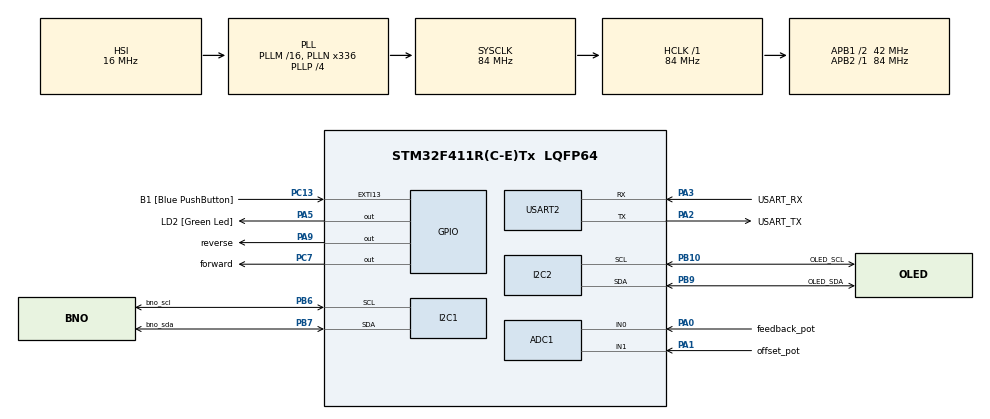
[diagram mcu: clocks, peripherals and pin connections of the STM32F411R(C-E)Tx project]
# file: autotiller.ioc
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ADC1.Channel-0\#ChannelRegularConversion=ADC_CHANNEL_0
ADC1.Channel-1\#ChannelRegularConversion=ADC_CHANNEL_1
ADC1.Channel-2\#ChannelRegularConversion=ADC_CHANNEL_4
ADC1.Channel-3\#ChannelRegularConversion=ADC_CHANNEL_6
ADC1.Channel-4\#ChannelRegularConversion=ADC_CHANNEL_7
ADC1.ContinuousConvMode=ENABLE
ADC1.NbrOfConversion=5
ADC1.NbrOfConversionFlag=1
ADC1.Rank-0\#ChannelRegularConversion=1
ADC1.Rank-1\#ChannelRegularConversion=2
ADC1.Rank-2\#ChannelRegularConversion=3
ADC1.Rank-3\#ChannelRegularConversion=4
ADC1.Rank-4\#ChannelRegularConversion=5
ADC1.SamplingTime-0\#ChannelRegularConversion=ADC_SAMPLETIME_28CYCLES
ADC1.SamplingTime-1\#ChannelRegularConversion=ADC_SAMPLETIME_28CYCLES
ADC1.SamplingTime-2\#ChannelRegularConversion=ADC_SAMPLETIME_28CYCLES
ADC1.SamplingTime-3\#ChannelRegularConversion=ADC_SAMPLETIME_28CYCLES
ADC1.SamplingTime-4\#ChannelRegularConversion=ADC_SAMPLETIME_28CYCLES
ADC1.ScanConvMode=ENABLE
ADC1.master=1
I2C2.I2C_Mode=I2C_Fast
Mcu.Family=STM32F4
Mcu.Name=STM32F411R(C-E)Tx
Mcu.Package=LQFP64
NVIC.PriorityGroup=NVIC_PRIORITYGROUP_0
PA0-WKUP.GPIO_Label=feedback_pot
PA0-WKUP.Signal=ADCx_IN0
PA1.GPIO_Label=offset_pot
PA1.Signal=ADCx_IN1
PA13.GPIO_Label=TMS
PA13.Mode=Serial_Wire
PA13.Signal=SYS_JTMS-SWDIO
PA14.GPIO_Label=TCK
PA14.Mode=Serial_Wire
PA14.Signal=SYS_JTCK-SWCLK
PA2.GPIO_Label=USART_TX
PA2.Mode=Asynchronous
PA2.Signal=USART2_TX
PA3.GPIO_Label=USART_RX
PA3.Mode=Asynchronous
PA3.Signal=USART2_RX
PA5.GPIO_Label=LD2 [Green Led]
PA5.Signal=GPIO_Output
PA9.GPIO_Label=reverse
PA9.Signal=GPIO_Output
PB10.GPIO_Label=OLED_SCL
PB10.Mode=I2C
PB10.Signal=I2C2_SCL
PB3.GPIO_Label=SWO
PB3.Signal=SYS_JTDO-SWO
PB6.GPIO_Label=bno_scl
PB6.Mode=I2C
PB6.Signal=I2C1_SCL
PB7.GPIO_Label=bno_sda
PB7.Mode=I2C
PB7.Signal=I2C1_SDA
PB9.GPIO_Label=OLED_SDA
PB9.Mode=I2C
PB9.Signal=I2C2_SDA
PC13-ANTI_TAMP.GPIO_Label=B1 [Blue PushButton]
PC13-ANTI_TAMP.GPIO_ModeDefaultEXTI=GPIO_MODE_IT_FALLING
PC13-ANTI_TAMP.Signal=GPXTI13
PC14-OSC32_IN.Mode=LSE-External-Oscillator
PC14-OSC32_IN.Signal=RCC_OSC32_IN
PC15-OSC32_OUT.Mode=LSE-External-Oscillator
PC15-OSC32_OUT.Signal=RCC_OSC32_OUT
PC7.GPIO_Label=forward
PC7.Signal=GPIO_Output
PH0\ -\ OSC_IN.Mode=HSE-External-Oscillator
PH0\ -\ OSC_IN.Signal=RCC_OSC_IN
PH1\ -\ OSC_OUT.Mode=HSE-External-Oscillator
PH1\ -\ OSC_OUT.Signal=RCC_OSC_OUT
ProjectManager.HeapSize=0x200
ProjectManager.StackSize=0x400
ProjectManager.TargetToolchain=STM32CubeIDE
RCC.48MHZClocksFreq_Value=84000000
RCC.AHBFreq_Value=84000000
RCC.APB1CLKDivider=RCC_HCLK_DIV2
RCC.APB1Freq_Value=42000000
RCC.APB1TimFreq_Value=84000000
RCC.APB2Freq_Value=84000000
RCC.APB2TimFreq_Value=84000000
RCC.CortexFreq_Value=84000000
RCC.FLatency-AdvancedSettings=FLASH_LATENCY_2
RCC.HCLKFreq_Value=84000000
RCC.HSE_VALUE=8000000
RCC.HSI_VALUE=16000000
RCC.PLLN=336
RCC.PLLP=RCC_PLLP_DIV4
RCC.SYSCLKFreq_VALUE=84000000
RCC.SYSCLKSource=RCC_SYSCLKSOURCE_PLLCLK
RCC.VCOOutputFreq_Value=336000000
SH.ADCx_IN0.0=ADC1_IN0,IN0
SH.ADCx_IN1.0=ADC1_IN1,IN1
USART2.VirtualMode=VM_ASYNC
board=NUCLEO-F411RE

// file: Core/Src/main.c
/* USER CODE BEGIN Header */
/**
  ******************************************************************************
  * @file           : main.c
  * @brief          : Main program body
  ******************************************************************************
  * @attention
  *
  * Copyright (c) 2024 STMicroelectronics.
  * All rights reserved.
  *
  * This software is licensed under terms that can be found in the LICENSE file
  * in the root directory of this software component.
  * If no LICENSE file comes with this software, it is provided AS-IS.
  *
  ******************************************************************************
  */
/* USER CODE END Header */
#include "main.h"

/* USER CODE BEGIN Includes */

#include <stdio.h>
#include <stdlib.h>

#include "fonts.h"
#include "ssd1306.h"

#include "bno055.h"
#include "bno_config.h"

#include "auto_till.h"

/* USER CODE END Includes */

ADC_HandleTypeDef hadc1;

I2C_HandleTypeDef hi2c1;
I2C_HandleTypeDef hi2c2;

UART_HandleTypeDef huart2;

/* USER CODE BEGIN PV */

bno055_t bno;
error_bno err;

uint32_t feedback_pot, offset_pot;
uint32_t yaw, new_yaw, period = 50;

float heading, heading_error, heading_difference, PID_p, PID_i, PID_d;
float heading_prev_error = 0;
float heading_set_point;
float kp = 9, ki = .25, kd = 3300;
float PID_total;

/* USER CODE END PV */

void SystemClock_Config(void);
static void MX_GPIO_Init(void);
static void MX_USART2_UART_Init(void);
static void MX_ADC1_Init(void);
static void MX_I2C1_Init(void);
static void MX_I2C2_Init(void);

/* USER CODE BEGIN 0 */

void ADC_Select_CH0 (void)
{
	ADC_ChannelConfTypeDef sConfig = {0};

	sConfig.Channel = ADC_CHANNEL_0;
	sConfig.Rank = 1;
	sConfig.SamplingTime = ADC_SAMPLETIME_28CYCLES;
	if (HAL_ADC_ConfigChannel(&hadc1, &sConfig) != HAL_OK)
	{
	Error_Handler();
	}
}

void ADC_Select_CH1 (void)
{
	ADC_ChannelConfTypeDef sConfig = {0};

	sConfig.Channel = ADC_CHANNEL_1;
	sConfig.Rank = 1;
	if (HAL_ADC_ConfigChannel(&hadc1, &sConfig) != HAL_OK)
	{
	Error_Handler();
	}
}

/* USER CODE END 0 */

int main(void)
{

  /* MCU Configuration--------------------------------------------------------*/

  /* Reset of all peripherals, Initializes the Flash interface and the Systick. */
  HAL_Init();

  /* USER CODE BEGIN Init */

  push_pull_init(GPIOC, GPIO_PIN_7, GPIOA, GPIO_PIN_9);

  /* USER CODE END Init */

  /* Configure the system clock */
  SystemClock_Config();

  /* Initialize all configured peripherals */
  MX_GPIO_Init();
  MX_USART2_UART_Init();
  MX_ADC1_Init();
  MX_I2C1_Init();
  MX_I2C2_Init();
  /* USER CODE BEGIN 2 */

  bno = (bno055_t)
  {
	  .i2c = &hi2c1, .addr = BNO_ADDR, .mode = BNO_MODE_IMU, ._temp_unit = 0,
	  // .ptr = &bno,
  };
  HAL_Delay(1000);

  if ((err = bno055_init(&bno)) == BNO_OK)
    {
    	  printf("[+] BNO055 init success\r\n");
  	  HAL_Delay(100);
    }
    else
    {
  	  printf("[!] BNO055 init failed\r\n");
  	  printf("%s\n", bno055_err_str(err));
  	  Error_Handler();
    }
  	  HAL_Delay(100);
  	  err = bno055_set_unit(&bno, BNO_TEMP_UNIT_C, BNO_GYR_UNIT_DPS, BNO_ACC_UNITSEL_M_S2, BNO_EUL_UNIT_DEG);
    if (err != BNO_OK)
    {
  	  printf("[BNO] Failed to set units. Err: %d\r\n", err);
    }
    else
    {
  	  printf("[BNO] Unit selection success\r\n");
    }

    HAL_Delay(1000);
    bno055_euler_t eul = {0, 0, 0};

    SSD1306_Init();

  /* USER CODE END 2 */

  /* Infinite loop */
  while (1)
  {

    /* USER CODE BEGIN 3 */

	  ADC_Select_CH0();
	  HAL_ADC_Start(&hadc1);
	  HAL_ADC_PollForConversion(&hadc1, 1000);
	  feedback_pot = HAL_ADC_GetValue(&hadc1);
	  HAL_ADC_Stop(&hadc1);

	  ADC_Select_CH1();
	  HAL_ADC_Start(&hadc1);
	  HAL_ADC_PollForConversion(&hadc1, 1000);
	  offset_pot = HAL_ADC_GetValue(&hadc1);
	  offset_pot = (offset_pot/100) - 20;
	  HAL_ADC_Stop(&hadc1);

	  bno.euler(&bno, &eul);
	  yaw = (int)eul.yaw;				//populate yaw with euler.yaw value
	  yaw = (yaw + 180) % 360;			//modulus for setting first value to 180 instead of 0
	  new_yaw = yaw + offset_pot;		//shifting the heading based off offset

	  heading_set_point = 180;

	  heading = new_yaw;
	  heading_error = heading_set_point - heading;
	  PID_p = kp * heading_error;						//proportional component

	  heading_difference = heading_error - heading_prev_error;
	  PID_d = kd * ((heading_error - heading_prev_error)/ period);		//derivative component

	  if(heading_error > -3 && heading_error < 3)		//integral cutoffs
	  {
		  PID_i = PID_i + (ki * heading_error);				//integral component
	  }
	  else
	  {
		  PID_i = 0;
	  }

	  PID_total = PID_p + PID_i + PID_d;		//combining P, I, and D components

//	  printf("%f  %f  %f  %f  %f\r\n", PID_p, PID_i, PID_d, PID_total, heading_error);
//	  fflush(stdout);
//	  HAL_Delay(2);

//	  printf("%f\t", PID_total);
//	  fflush(stdout);
//	  HAL_Delay(2);

	  PID_total = remap_val(PID_total, -3000, 3000, -400, 1600); 		//remapping values for range and sensitivity
	  feedback_pot = remap_val(feedback_pot, 0, 4100, 101, 1099);	//limits set at 130 and 1070

	  if(PID_total < -200)			//PID limits
	  {
		  PID_total = -200;
	  }
	  if(PID_total > 1400)
	  {
		  PID_total = 1400;
	  }

//	  printf("%f\r\n", PID_total);
//	  fflush(stdout);
//	  HAL_Delay(2);

	  linear_set(feedback_pot, GPIOC, GPIO_PIN_7, GPIOA, GPIO_PIN_9, PID_total);

//	  printf("%f  %ld\r\n", PID_total, feedback_pot);
//	  fflush(stdout);
//	  HAL_Delay(2);

	  char char_buff_1[1000], char_buff_2[1000];
	  sprintf(char_buff_1, "%ld", yaw);
	  sprintf(char_buff_2, "%ld", offset_pot);

	  SSD1306_GotoXY (0,0);
	  SSD1306_Puts ("Yaw:", &Font_7x10, 1);
	  SSD1306_GotoXY (0,30);
	  SSD1306_Puts ("Offset:", &Font_7x10, 1);

	  SSD1306_GotoXY (50,0);
	  SSD1306_Puts (char_buff_1, &Font_7x10, 1);
	  SSD1306_GotoXY (50,30);
	  SSD1306_Puts (char_buff_2, &Font_7x10, 1);
	  SSD1306_UpdateScreen();
	  HAL_Delay (2);
	  SSD1306_Clear();

  }
  /* USER CODE END 3 */
}

void SystemClock_Config(void)
{
  RCC_OscInitTypeDef RCC_OscInitStruct = {0};
  RCC_ClkInitTypeDef RCC_ClkInitStruct = {0};

  /** Configure the main internal regulator output voltage
  */
  __HAL_RCC_PWR_CLK_ENABLE();
  __HAL_PWR_VOLTAGESCALING_CONFIG(PWR_REGULATOR_VOLTAGE_SCALE1);

  /** Initializes the RCC Oscillators according to the specified parameters
  * in the RCC_OscInitTypeDef structure.
  */
  RCC_OscInitStruct.OscillatorType = RCC_OSCILLATORTYPE_HSI;
  RCC_OscInitStruct.HSIState = RCC_HSI_ON;
  RCC_OscInitStruct.HSICalibrationValue = RCC_HSICALIBRATION_DEFAULT;
  RCC_OscInitStruct.PLL.PLLState = RCC_PLL_ON;
  RCC_OscInitStruct.PLL.PLLSource = RCC_PLLSOURCE_HSI;
  RCC_OscInitStruct.PLL.PLLM = 16;
  RCC_OscInitStruct.PLL.PLLN = 336;
  RCC_OscInitStruct.PLL.PLLP = RCC_PLLP_DIV4;
  RCC_OscInitStruct.PLL.PLLQ = 4;
  if (HAL_RCC_OscConfig(&RCC_OscInitStruct) != HAL_OK)
  {
    Error_Handler();
  }

  /** Initializes the CPU, AHB and APB buses clocks
  */
  RCC_ClkInitStruct.ClockType = RCC_CLOCKTYPE_HCLK|RCC_CLOCKTYPE_SYSCLK
                              |RCC_CLOCKTYPE_PCLK1|RCC_CLOCKTYPE_PCLK2;
  RCC_ClkInitStruct.SYSCLKSource = RCC_SYSCLKSOURCE_PLLCLK;
  RCC_ClkInitStruct.AHBCLKDivider = RCC_SYSCLK_DIV1;
  RCC_ClkInitStruct.APB1CLKDivider = RCC_HCLK_DIV2;
  RCC_ClkInitStruct.APB2CLKDivider = RCC_HCLK_DIV1;

  if (HAL_RCC_ClockConfig(&RCC_ClkInitStruct, FLASH_LATENCY_2) != HAL_OK)
  {
    Error_Handler();
  }
}

static void MX_ADC1_Init(void)
{

  //ADC_ChannelConfTypeDef sConfig = {0};

  /** Configure the global features of the ADC (Clock, Resolution, Data Alignment and number of conversion)
  */
  hadc1.Instance = ADC1;
  hadc1.Init.ClockPrescaler = ADC_CLOCK_SYNC_PCLK_DIV4;
  hadc1.Init.Resolution = ADC_RESOLUTION_12B;
  hadc1.Init.ScanConvMode = ENABLE;
  hadc1.Init.ContinuousConvMode = ENABLE;
  hadc1.Init.DiscontinuousConvMode = DISABLE;
  hadc1.Init.ExternalTrigConvEdge = ADC_EXTERNALTRIGCONVEDGE_NONE;
  hadc1.Init.ExternalTrigConv = ADC_SOFTWARE_START;
  hadc1.Init.DataAlign = ADC_DATAALIGN_RIGHT;
  hadc1.Init.NbrOfConversion = 5;
  hadc1.Init.DMAContinuousRequests = DISABLE;
  hadc1.Init.EOCSelection = ADC_EOC_SINGLE_CONV;
  if (HAL_ADC_Init(&hadc1) != HAL_OK)
  {
    Error_Handler();
  }

  /** Configure for the selected ADC regular channel its corresponding rank in the sequencer and its sample time.
  */
//  sConfig.Channel = ADC_CHANNEL_0;
//  sConfig.Rank = 1;
//  sConfig.SamplingTime = ADC_SAMPLETIME_28CYCLES;
//  if (HAL_ADC_ConfigChannel(&hadc1, &sConfig) != HAL_OK)
//  {
//    Error_Handler();
//  }
//
//  /** Configure for the selected ADC regular channel its corresponding rank in the sequencer and its sample time.
//  */
//  sConfig.Channel = ADC_CHANNEL_1;
//  sConfig.Rank = 2;
//  if (HAL_ADC_ConfigChannel(&hadc1, &sConfig) != HAL_OK)
//  {
//    Error_Handler();
  }
static void MX_I2C1_Init(void)
{

  hi2c1.Instance = I2C1;
  hi2c1.Init.ClockSpeed = 100000;
  hi2c1.Init.DutyCycle = I2C_DUTYCYCLE_2;
  hi2c1.Init.OwnAddress1 = 0;
  hi2c1.Init.AddressingMode = I2C_ADDRESSINGMODE_7BIT;
  hi2c1.Init.DualAddressMode = I2C_DUALADDRESS_DISABLE;
  hi2c1.Init.OwnAddress2 = 0;
  hi2c1.Init.GeneralCallMode = I2C_GENERALCALL_DISABLE;
  hi2c1.Init.NoStretchMode = I2C_NOSTRETCH_DISABLE;
  if (HAL_I2C_Init(&hi2c1) != HAL_OK)
  {
    Error_Handler();
  }

}

static void MX_I2C2_Init(void)
{

  hi2c2.Instance = I2C2;
  hi2c2.Init.ClockSpeed = 400000;
  hi2c2.Init.DutyCycle = I2C_DUTYCYCLE_2;
  hi2c2.Init.OwnAddress1 = 0;
  hi2c2.Init.AddressingMode = I2C_ADDRESSINGMODE_7BIT;
  hi2c2.Init.DualAddressMode = I2C_DUALADDRESS_DISABLE;
  hi2c2.Init.OwnAddress2 = 0;
  hi2c2.Init.GeneralCallMode = I2C_GENERALCALL_DISABLE;
  hi2c2.Init.NoStretchMode = I2C_NOSTRETCH_DISABLE;
  if (HAL_I2C_Init(&hi2c2) != HAL_OK)
  {
    Error_Handler();
  }

}

static void MX_USART2_UART_Init(void)
{

  huart2.Instance = USART2;
  huart2.Init.BaudRate = 115200;
  huart2.Init.WordLength = UART_WORDLENGTH_8B;
  huart2.Init.StopBits = UART_STOPBITS_1;
  huart2.Init.Parity = UART_PARITY_NONE;
  huart2.Init.Mode = UART_MODE_TX_RX;
  huart2.Init.HwFlowCtl = UART_HWCONTROL_NONE;
  huart2.Init.OverSampling = UART_OVERSAMPLING_16;
  if (HAL_UART_Init(&huart2) != HAL_OK)
  {
    Error_Handler();
  }

}

static void MX_GPIO_Init(void)
{
  GPIO_InitTypeDef GPIO_InitStruct = {0};

  /* GPIO Ports Clock Enable */
  __HAL_RCC_GPIOC_CLK_ENABLE();
  __HAL_RCC_GPIOH_CLK_ENABLE();
  __HAL_RCC_GPIOA_CLK_ENABLE();
  __HAL_RCC_GPIOB_CLK_ENABLE();

  /*Configure GPIO pin Output Level */
  HAL_GPIO_WritePin(GPIOA, LD2_Pin|reverse_Pin, GPIO_PIN_RESET);

  /*Configure GPIO pin Output Level */
  HAL_GPIO_WritePin(forward_GPIO_Port, forward_Pin, GPIO_PIN_RESET);

  /*Configure GPIO pin : B1_Pin */
  GPIO_InitStruct.Pin = B1_Pin;
  GPIO_InitStruct.Mode = GPIO_MODE_IT_FALLING;
  GPIO_InitStruct.Pull = GPIO_NOPULL;
  HAL_GPIO_Init(B1_GPIO_Port, &GPIO_InitStruct);

  /*Configure GPIO pins : LD2_Pin reverse_Pin */
  GPIO_InitStruct.Pin = LD2_Pin|reverse_Pin;
  GPIO_InitStruct.Mode = GPIO_MODE_OUTPUT_PP;
  GPIO_InitStruct.Pull = GPIO_NOPULL;
  GPIO_InitStruct.Speed = GPIO_SPEED_FREQ_LOW;
  HAL_GPIO_Init(GPIOA, &GPIO_InitStruct);

  /*Configure GPIO pin : forward_Pin */
  GPIO_InitStruct.Pin = forward_Pin;
  GPIO_InitStruct.Mode = GPIO_MODE_OUTPUT_PP;
  GPIO_InitStruct.Pull = GPIO_NOPULL;
  GPIO_InitStruct.Speed = GPIO_SPEED_FREQ_LOW;
  HAL_GPIO_Init(forward_GPIO_Port, &GPIO_InitStruct);

}

/* USER CODE BEGIN 4 */

int _write(int file, char *ptr, int len)
{
  (void)file;
  int DataIdx;

  for (DataIdx = 0; DataIdx < len; DataIdx++)
  {
	  ITM_SendChar(*ptr++);
  }
  return len;
}

/* USER CODE END 4 */

void Error_Handler(void)
{
  __disable_irq();
  while (1)
  {
  }
}
